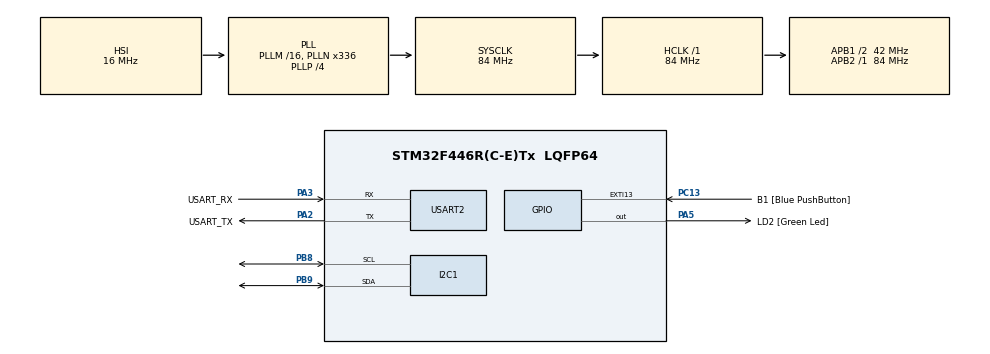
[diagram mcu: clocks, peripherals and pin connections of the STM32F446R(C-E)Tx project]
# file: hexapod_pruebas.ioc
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FREERTOS.Tasks01=defaultTask,24,128,StartDefaultTask,Default,NULL,Dynamic,NULL,NULL
FREERTOS.configUSE_NEWLIB_REENTRANT=1
Mcu.Family=STM32F4
Mcu.Name=STM32F446R(C-E)Tx
Mcu.Package=LQFP64
NVIC.PriorityGroup=NVIC_PRIORITYGROUP_4
NVIC.TIM1_UP_TIM10_IRQn=true\:15\:0\:false\:false\:true\:false\:false\:true\:true
NVIC.TimeBase=TIM1_UP_TIM10_IRQn
NVIC.TimeBaseIP=TIM1
NVIC.USART2_IRQn=true\:5\:0\:false\:false\:true\:true\:true\:true\:true
PA13.GPIO_Label=TMS
PA13.Mode=Serial_Wire
PA13.Signal=SYS_JTMS-SWDIO
PA14.GPIO_Label=TCK
PA14.Mode=Serial_Wire
PA14.Signal=SYS_JTCK-SWCLK
PA2.GPIO_Label=USART_TX
PA2.Mode=Asynchronous
PA2.Signal=USART2_TX
PA3.GPIO_Label=USART_RX
PA3.Mode=Asynchronous
PA3.Signal=USART2_RX
PA5.GPIO_Label=LD2 [Green Led]
PA5.Signal=GPIO_Output
PB3.GPIO_Label=SWO
PB3.Signal=SYS_JTDO-SWO
PB8.GPIO_Pu=GPIO_PULLUP
PB8.Mode=I2C
PB8.Signal=I2C1_SCL
PB9.GPIO_Pu=GPIO_PULLUP
PB9.Mode=I2C
PB9.Signal=I2C1_SDA
PC13.GPIO_Label=B1 [Blue PushButton]
PC13.GPIO_ModeDefaultEXTI=GPIO_MODE_IT_FALLING
PC13.Signal=GPXTI13
PC14-OSC32_IN.Mode=LSE-External-Oscillator
PC14-OSC32_IN.Signal=RCC_OSC32_IN
PC15-OSC32_OUT.Mode=LSE-External-Oscillator
PC15-OSC32_OUT.Signal=RCC_OSC32_OUT
PH0-OSC_IN.Mode=HSE-External-Oscillator
PH0-OSC_IN.Signal=RCC_OSC_IN
PH1-OSC_OUT.Mode=HSE-External-Oscillator
PH1-OSC_OUT.Signal=RCC_OSC_OUT
ProjectManager.HeapSize=0x200
ProjectManager.StackSize=0x400
ProjectManager.TargetToolchain=STM32CubeIDE
RCC.48MHZClocksFreq_Value=84000000
RCC.AHBFreq_Value=84000000
RCC.APB1CLKDivider=RCC_HCLK_DIV2
RCC.APB1Freq_Value=42000000
RCC.APB1TimFreq_Value=84000000
RCC.APB2Freq_Value=84000000
RCC.APB2TimFreq_Value=84000000
RCC.CortexFreq_Value=84000000
RCC.FLatency-AdvancedSettings=FLASH_LATENCY_2
RCC.HCLKFreq_Value=84000000
RCC.HSE_VALUE=8000000
RCC.HSI_VALUE=16000000
RCC.PLLN=336
RCC.PLLP=RCC_PLLP_DIV4
RCC.SYSCLKFreq_VALUE=84000000
RCC.SYSCLKSource=RCC_SYSCLKSOURCE_PLLCLK
RCC.USBFreq_Value=168000000
RCC.VCOOutputFreq_Value=336000000
USART2.VirtualMode=VM_ASYNC
VP_FREERTOS_VS_CMSIS_V2.Mode=CMSIS_V2
VP_SYS_VS_tim1.Mode=TIM1
board=NUCLEO-F446RE

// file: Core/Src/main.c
/* USER CODE BEGIN Header */
/**
  ******************************************************************************
  * @file           : main.c
  * @brief          : Main program body
  ******************************************************************************
  * @attention
  *
  * Copyright (c) 2024 STMicroelectronics.
  * All rights reserved.
  *
  * This software is licensed under terms that can be found in the LICENSE file
  * in the root directory of this software component.
  * If no LICENSE file comes with this software, it is provided AS-IS.
  *
  ******************************************************************************
  */
/* USER CODE END Header */
#include "main.h"
#include "cmsis_os.h"

/* USER CODE BEGIN Includes */
#include "stdio.h"
#include "stdbool.h"
#include "pca9685.h"
/* USER CODE END Includes */

/* USER CODE BEGIN PD */
#define PCA9685_DEFAULT_ID      0x44
#define CHANNEL_0               15
#define SERVO_MIN_TICKS         102 // ancho de pulso en ticks para pocicion 0°
#define SERVO_MAX_TICKS         512 // ancho de pulso en ticks para la pocicion 180°

#define UART_RX_DATA_EVENT_FLAG                         0x0001UL
#define UART_RX_ERROR_EVENT_FLAG                        0x0002UL

/* USER CODE END PD */

I2C_HandleTypeDef hi2c1;

UART_HandleTypeDef huart2;

/* Definitions for defaultTask */
osThreadId_t defaultTaskHandle;
const osThreadAttr_t defaultTask_attributes = {
  .name = "defaultTask",
  .stack_size = 128 * 4,
  .priority = (osPriority_t) osPriorityNormal,
};
/* USER CODE BEGIN PV */
/*
pca9685_handle_t handle_pca9685 = {
    .i2c_handle = &hi2c1,
    .device_address = PCA9685_DEFAULT_ID,
    .inverted = false
};
*/
/* USER CODE END PV */

void SystemClock_Config(void);
static void MX_GPIO_Init(void);
static void MX_USART2_UART_Init(void);
static void MX_I2C1_Init(void);
void StartDefaultTask(void *argument);

/* USER CODE BEGIN 0 */
int _write(int file, char *ptr, int len)
{
  /* Implement your write code here, this is used by puts and printf for example */
  int i=0;
  for(i=0 ; i<len ; i++)
    ITM_SendChar((*ptr++));
  return len;
}
/* USER CODE END 0 */

int main(void)
{

  /* MCU Configuration--------------------------------------------------------*/

  /* Reset of all peripherals, Initializes the Flash interface and the Systick. */
  HAL_Init();

  /* Configure the system clock */
  SystemClock_Config();

  /* Initialize all configured peripherals */
  MX_GPIO_Init();
  MX_USART2_UART_Init();
  MX_I2C1_Init();
  /* USER CODE BEGIN 2 */

  //bool ret_init = pca9685_init(&handle_pca9685);
  //bool ret_set_freq = pca9685_set_pwm_frequency(&handle_pca9685, 50.0f);
  if ( PCA9685_ERROR == PCA9685_Init( &hi2c1 ) )
  {
    //  show_error
  }

  /* USER CODE END 2 */

  /* Init scheduler */
  osKernelInitialize();

  /* Create the thread(s) */
  /* creation of defaultTask */
  defaultTaskHandle = osThreadNew(StartDefaultTask, NULL, &defaultTask_attributes);

  /* Start scheduler */
  osKernelStart();

  /* We should never get here as control is now taken by the scheduler */

  /* Infinite loop */
  while (1)
  {

  }
}

void SystemClock_Config(void)
{
  RCC_OscInitTypeDef RCC_OscInitStruct = {0};
  RCC_ClkInitTypeDef RCC_ClkInitStruct = {0};

  /** Configure the main internal regulator output voltage
  */
  __HAL_RCC_PWR_CLK_ENABLE();
  __HAL_PWR_VOLTAGESCALING_CONFIG(PWR_REGULATOR_VOLTAGE_SCALE3);

  /** Initializes the RCC Oscillators according to the specified parameters
  * in the RCC_OscInitTypeDef structure.
  */
  RCC_OscInitStruct.OscillatorType = RCC_OSCILLATORTYPE_HSI;
  RCC_OscInitStruct.HSIState = RCC_HSI_ON;
  RCC_OscInitStruct.HSICalibrationValue = RCC_HSICALIBRATION_DEFAULT;
  RCC_OscInitStruct.PLL.PLLState = RCC_PLL_ON;
  RCC_OscInitStruct.PLL.PLLSource = RCC_PLLSOURCE_HSI;
  RCC_OscInitStruct.PLL.PLLM = 16;
  RCC_OscInitStruct.PLL.PLLN = 336;
  RCC_OscInitStruct.PLL.PLLP = RCC_PLLP_DIV4;
  RCC_OscInitStruct.PLL.PLLQ = 2;
  RCC_OscInitStruct.PLL.PLLR = 2;
  if (HAL_RCC_OscConfig(&RCC_OscInitStruct) != HAL_OK)
  {
    Error_Handler();
  }

  /** Initializes the CPU, AHB and APB buses clocks
  */
  RCC_ClkInitStruct.ClockType = RCC_CLOCKTYPE_HCLK|RCC_CLOCKTYPE_SYSCLK
                              |RCC_CLOCKTYPE_PCLK1|RCC_CLOCKTYPE_PCLK2;
  RCC_ClkInitStruct.SYSCLKSource = RCC_SYSCLKSOURCE_PLLCLK;
  RCC_ClkInitStruct.AHBCLKDivider = RCC_SYSCLK_DIV1;
  RCC_ClkInitStruct.APB1CLKDivider = RCC_HCLK_DIV2;
  RCC_ClkInitStruct.APB2CLKDivider = RCC_HCLK_DIV1;

  if (HAL_RCC_ClockConfig(&RCC_ClkInitStruct, FLASH_LATENCY_2) != HAL_OK)
  {
    Error_Handler();
  }
}

static void MX_I2C1_Init(void)
{

  hi2c1.Instance = I2C1;
  hi2c1.Init.ClockSpeed = 100000;
  hi2c1.Init.DutyCycle = I2C_DUTYCYCLE_2;
  hi2c1.Init.OwnAddress1 = 0;
  hi2c1.Init.AddressingMode = I2C_ADDRESSINGMODE_7BIT;
  hi2c1.Init.DualAddressMode = I2C_DUALADDRESS_DISABLE;
  hi2c1.Init.OwnAddress2 = 0;
  hi2c1.Init.GeneralCallMode = I2C_GENERALCALL_DISABLE;
  hi2c1.Init.NoStretchMode = I2C_NOSTRETCH_DISABLE;
  if (HAL_I2C_Init(&hi2c1) != HAL_OK)
  {
    Error_Handler();
  }

}

static void MX_USART2_UART_Init(void)
{

  huart2.Instance = USART2;
  huart2.Init.BaudRate = 115200;
  huart2.Init.WordLength = UART_WORDLENGTH_8B;
  huart2.Init.StopBits = UART_STOPBITS_1;
  huart2.Init.Parity = UART_PARITY_NONE;
  huart2.Init.Mode = UART_MODE_TX_RX;
  huart2.Init.HwFlowCtl = UART_HWCONTROL_NONE;
  huart2.Init.OverSampling = UART_OVERSAMPLING_16;
  if (HAL_UART_Init(&huart2) != HAL_OK)
  {
    Error_Handler();
  }

}

static void MX_GPIO_Init(void)
{
  GPIO_InitTypeDef GPIO_InitStruct = {0};

  /* GPIO Ports Clock Enable */
  __HAL_RCC_GPIOC_CLK_ENABLE();
  __HAL_RCC_GPIOH_CLK_ENABLE();
  __HAL_RCC_GPIOA_CLK_ENABLE();
  __HAL_RCC_GPIOB_CLK_ENABLE();

  /*Configure GPIO pin Output Level */
  HAL_GPIO_WritePin(LD2_GPIO_Port, LD2_Pin, GPIO_PIN_RESET);

  /*Configure GPIO pin : B1_Pin */
  GPIO_InitStruct.Pin = B1_Pin;
  GPIO_InitStruct.Mode = GPIO_MODE_IT_FALLING;
  GPIO_InitStruct.Pull = GPIO_NOPULL;
  HAL_GPIO_Init(B1_GPIO_Port, &GPIO_InitStruct);

  /*Configure GPIO pin : LD2_Pin */
  GPIO_InitStruct.Pin = LD2_Pin;
  GPIO_InitStruct.Mode = GPIO_MODE_OUTPUT_PP;
  GPIO_InitStruct.Pull = GPIO_NOPULL;
  GPIO_InitStruct.Speed = GPIO_SPEED_FREQ_LOW;
  HAL_GPIO_Init(LD2_GPIO_Port, &GPIO_InitStruct);

}

/* USER CODE BEGIN 4 */
void HAL_UART_RxCpltCallback(UART_HandleTypeDef *huart)
{
    /* Prevent unused argument(s) compilation warning */
    if ( huart == &huart2 )
    {
        osThreadFlagsSet (defaultTaskHandle, UART_RX_DATA_EVENT_FLAG);
    }
}
/* USER CODE END 4 */

void StartDefaultTask(void *argument)
{
  /* USER CODE BEGIN 5 */

    /* Infinite loop */
    for(;;)
    {
        static const uint8_t buff_size = 1;
        uint8_t buffer[buff_size];
        uint32_t evt = osFlagsError;
        static int32_t angulo = 0;

        //leer_comando
        HAL_UART_Receive_IT( &huart2, buffer, buff_size);

        osThreadFlagsClear( UART_RX_DATA_EVENT_FLAG | UART_RX_ERROR_EVENT_FLAG );

        evt = osThreadFlagsWait( UART_RX_DATA_EVENT_FLAG | UART_RX_ERROR_EVENT_FLAG,
                          osFlagsWaitAny,
                          100000 ); //100sec

        if ( evt == UART_RX_DATA_EVENT_FLAG )
        {
            if ( buffer[0] == 'd' )
            {
                angulo +=10;
            }
            else if ( buffer[0] == 'a' )
            {
                angulo -=10;
            }

            printf("angulo actual: %ld \n",angulo);

            if ( PCA9685_OK != PCA9685_SetServoAngle( 15, (float)angulo ) )
            {
                printf("PCA write angle ERROR");
            }
        }
        else if ( evt == osFlagsErrorTimeout )//UART_RX_ERROR_EVENT_FLAG
        {
            printf("uart timeout");
        }
        else //ERROR
        {
            printf("uart error reception ");
        }

        //incrementar o decrementar angulo

        //escribir angulo ( canal, angulo )

        //printear valores

    }
  /* USER CODE END 5 */
}

void HAL_TIM_PeriodElapsedCallback(TIM_HandleTypeDef *htim)
{
  if (htim->Instance == TIM1) {
    HAL_IncTick();
  }
}

void Error_Handler(void)
{
  __disable_irq();
  while (1)
  {
  }
}
